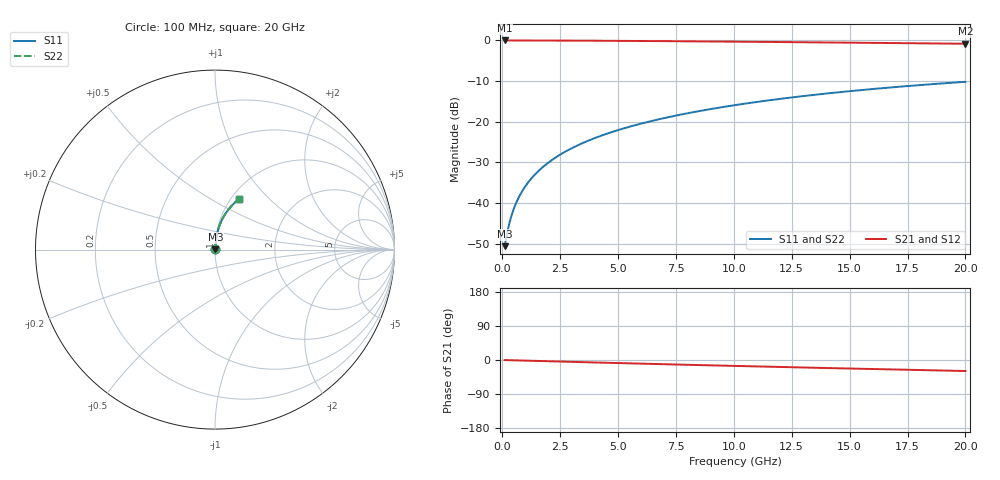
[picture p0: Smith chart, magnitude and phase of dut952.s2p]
! Touchstone file exported from HFSS 2024.1.0
!  File:  C:/UserFiles/LocalFiles/RDL_TSV_Batchsim/temp_RDL_bottom_952_1779942262.aedt
!  Generated:  12:26:35 PM May 28, 2026
!  Design:  RDL_bottom
!  Project:  temp_RDL_bottom_952_1779942262
!  Setup:  Setup1
!  Solution:  Sweep
! Variables:
!  dtsv = 10.80580581um
!  hbump = 3um
!  htsv = 90.09um
!  ldown = 391.54um
!  lrdl = 100um
!  p = 40
!  p1 = 42.41um
!  rhole = 1um
!  t = 450um
!  tdown = 3.84um
!  trdl = 3.915915916um
!  wdown = 15.71um
!  wrdl = 20um
# GHz S MA R 50.000000
! Terminal data exported
! Port[1] = RDL1_T1
! Port[2] = RDL1_T2
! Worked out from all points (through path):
!   200 points, 100 MHz to 20 GHz, reference 50 ohm
!   highest |S21| = -0.02 dB at 100 MHz (marker M1); lowest = -0.8 dB at 20 GHz (marker M2)
!   group delay of S21, straight-line fit = 4.02 ps
!   lowest |S11| = -50.6 dB at 100 MHz (marker M3), VSWR 1.01, Z = 50.2 + j0.169 ohm
!   |S11| at or under -10 dB: start of sweep to end of sweep
!   |S22| runs from -50.6 to -10.2 dB; largest |S21 - S12| = 3.3e-15
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0.1  0.00296 34.5  0.9976 -0.2  0.9976 -0.2  0.00296 34.5
! Gamma 0 0 0 0
! Port Impedance 50 0 50 0
0.2  0.004169 53.1  0.9975 -0.3  0.9975 -0.3  0.004169 53.1
0.3  0.005593 62.4  0.9974 -0.5  0.9974 -0.5  0.005593 62.4
0.4  0.007078 67.7  0.9973 -0.7  0.9973 -0.7  0.007078 67.7
0.5  0.008581 71.1  0.9972 -0.8  0.9972 -0.8  0.008581 71.1
0.6  0.01009 73.5  0.9971 -1.0  0.9971 -1.0  0.01009 73.5
0.8  0.01313 76.7  0.9969 -1.3  0.9969 -1.3  0.01313 76.7
1.1  0.01771 79.4  0.9966 -1.8  0.9966 -1.8  0.01771 79.5
1.3  0.02079 80.6  0.9963 -2.2  0.9963 -2.2  0.02079 80.6
1.6  0.02543 81.7  0.9959 -2.6  0.9959 -2.6  0.02543 81.7
2.1  0.03321 82.8  0.9951 -3.5  0.9951 -3.5  0.03321 82.8
2.7  0.0426 83.3  0.9938 -4.4  0.9938 -4.4  0.0426 83.3
3.5  0.0552 83.4  0.9917 -5.7  0.9917 -5.7  0.0552 83.4
4.2  0.06628 83.2  0.9896 -6.8  0.9896 -6.8  0.06628 83.2
5  0.079 82.7  0.9868 -8.1  0.9868 -8.1  0.07901 82.7
5.9  0.09339 82.0  0.9833 -9.5  0.9833 -9.5  0.0934 82.0
6.8  0.1078 81.2  0.9795 -10.9  0.9795 -10.9  0.1078 81.2
8.3  0.132 79.7  0.9727 -13.1  0.9727 -13.1  0.132 79.7
10.1  0.1609 77.6  0.9639 -15.7  0.9639 -15.7  0.1609 77.6
13.4  0.213 73.4  0.9466 -20.4  0.9466 -20.4  0.213 73.4
16.7  0.2629 69.1  0.9282 -24.8  0.9282 -24.8  0.263 69.1
20  0.3098 64.8  0.9091 -29.1  0.9091 -29.1  0.3099 64.8
